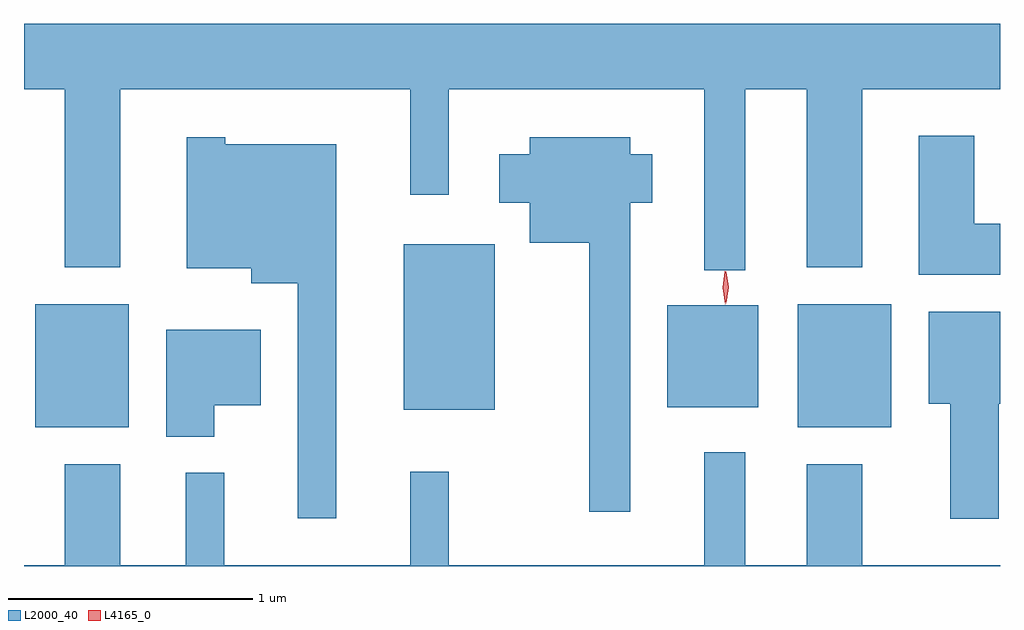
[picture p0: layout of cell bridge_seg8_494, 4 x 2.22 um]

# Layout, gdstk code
import gdstk
lib = gdstk.Library(unit=1e-6, precision=1e-09)
def R(c, l, rs):  # rectangles x0, y0, x1, y1
    for r in rs: c.add(gdstk.rectangle(r[:2], r[2:], *l))
def P(c, l, *ps):  # polygons
    for p in ps: c.add(gdstk.Polygon(p, *l))
L2000_40 = (2000, 40)
L4165_0 = (4165, 0)

bridge_seg8_494 = lib.new_cell('bridge_seg8_494')
R(bridge_seg8_494, L2000_40, [(355.721,1886.091,356.104,1886.594), (358.846,1886.091,359.229,1886.594), (357.231,1886.161,357.604,1886.839), (358.311,1886.171,358.684,1886.589)])
P(bridge_seg8_494, L2000_40, [(358.629,1887.476),(358.881,1887.476),(358.881,1886.746),(359.109,1886.746),(359.109,1887.476),(359.674,1887.476),(359.674,1887.744),(355.674,1887.744),(355.674,1887.476),(355.841,1887.476),(355.841,1886.746),(356.069,1886.746),(356.069,1887.476),(357.256,1887.476),(357.256,1887.043),(357.414,1887.043),(357.414,1887.476),(358.461,1887.476),(358.461,1886.733),(358.629,1886.733)],
  [(359.674,1886.924),(359.569,1886.924),(359.569,1887.284),(359.341,1887.284),(359.341,1886.716),(359.674,1886.716)],
  [(358.159,1887.011),(358.249,1887.011),(358.249,1887.209),(358.159,1887.209),(358.159,1887.279),(357.746,1887.279),(357.746,1887.209),(357.621,1887.209),(357.621,1887.011),(357.746,1887.011),(357.746,1886.846),(357.991,1886.846),(357.991,1885.743),(358.159,1885.743)],
  [(356.954,1887.249),(356.499,1887.249),(356.499,1887.279),(356.341,1887.279),(356.341,1886.741),(356.606,1886.741),(356.606,1886.681),(356.796,1886.681),(356.796,1885.718),(356.954,1885.718)],
  [(359.669,1886.186),(359.674,1886.186),(359.674,1886.564),(359.381,1886.564),(359.381,1886.186),(359.471,1886.186),(359.471,1885.716),(359.669,1885.716)],
  [(356.454,1886.181),(356.644,1886.181),(356.644,1886.489),(356.256,1886.489),(356.256,1886.051),(356.454,1886.051)],
  [(359.674,1885.524),(359.109,1885.524),(359.109,1885.939),(358.881,1885.939),(358.881,1885.524),(358.629,1885.524),(358.629,1885.988),(358.461,1885.988),(358.461,1885.524),(357.414,1885.524),(357.414,1885.908),(357.256,1885.908),(357.256,1885.524),(356.494,1885.524),(356.494,1885.903),(356.336,1885.903),(356.336,1885.524),(356.069,1885.524),(356.069,1885.939),(355.841,1885.939),(355.841,1885.524),(355.674,1885.524),(355.674,1885.52),(359.674,1885.52)])
P(bridge_seg8_494, L4165_0, [(358.547,1886.594),(358.547,1886.594),(358.537,1886.662),(358.546,1886.73),(358.546,1886.73),(358.547,1886.73),(358.557,1886.662),(358.548,1886.594)],
  [(358.552,1886.598),(358.552,1886.599),(358.542,1886.663),(358.551,1886.727),(358.552,1886.727),(358.552,1886.727),(358.562,1886.663),(358.553,1886.599)])

lib.write_gds('bridge_seg8_494.gds')
